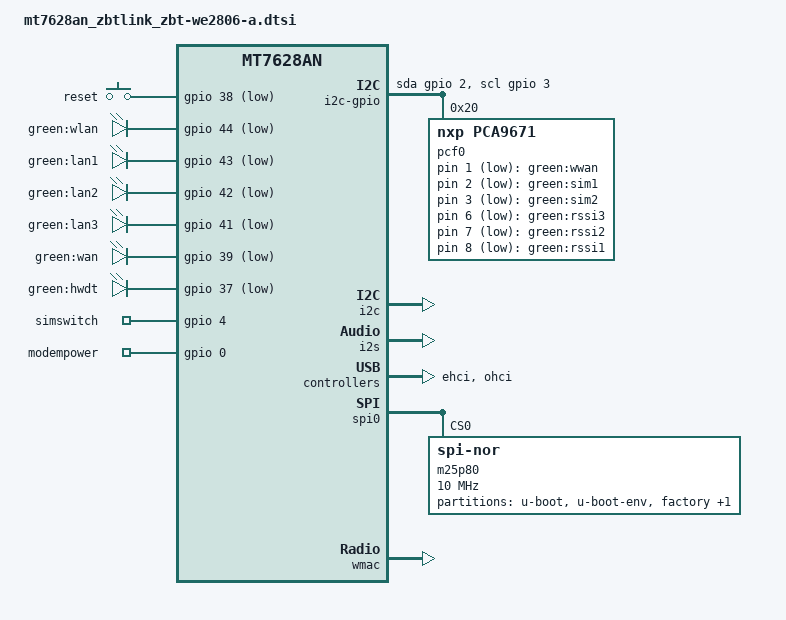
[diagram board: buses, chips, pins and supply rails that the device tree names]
#include <dt-bindings/input/input.h>
#include <dt-bindings/gpio/gpio.h>

#include "mt7628an.dtsi"

/ {
	compatible = "zbtlink,zbt-we2806-a", "mediatek,mt7628an-soc";

	aliases {
		led-boot = &led_wlan;
		led-failsafe = &led_wlan;
		led-running = &led_wlan;
		led-upgrade = &led_wlan;
	};

	chosen {
		bootargs = "console=ttyS0,115200";
	};

	i2c-gpio {
		#address-cells = <1>;
		#size-cells = <0>;

		compatible = "i2c-gpio";
		gpios = <&gpio 2 4 &gpio 3 4>;
		i2c-gpio,delay-us = <10>;

		pcf0: iexp@20 {
			#gpio-cells = <2>;
			compatible = "nxp,pca9671";
			reg = <0x20>;
			gpio-controller;
		};
	};

	keys {
		compatible = "gpio-keys-polled";
		poll-interval = <20>;

		reset {
			label = "reset";
			gpios = <&gpio 38 GPIO_ACTIVE_LOW>;
			linux,code = <KEY_RESTART>;
		};
	};

	leds {
		compatible = "gpio-leds";

		led_wlan: wlan {
			label = "green:wlan";
			gpios = <&gpio 44 GPIO_ACTIVE_LOW>;
			linux,default-trigger = "phy0pt";
		};

		lan1 {
			label = "green:lan1";
			gpios = <&gpio 43 GPIO_ACTIVE_LOW>;
		};
		
		lan2 {
			label = "green:lan2";
			gpios = <&gpio 42 GPIO_ACTIVE_LOW>;
		};

		lan3 {
			label = "green:lan3";
			gpios = <&gpio 41 GPIO_ACTIVE_LOW>;
		};

		wan {
                        label = "green:wan";
                        gpios = <&gpio 39 GPIO_ACTIVE_LOW>;
                };

		hwdt {
                        label = "green:hwdt";
                        gpios = <&gpio 37 GPIO_ACTIVE_LOW>;
                        linux,default-trigger = "timer";
                };

		wwan {
                        label = "green:wwan";
                        gpios = <&pcf0 1 GPIO_ACTIVE_LOW>;
                };

		sim1 {
			label = "green:sim1";
			gpios = <&pcf0 2 GPIO_ACTIVE_LOW>;
		};
		
		sim2 {
			label = "green:sim2";
			gpios = <&pcf0 3 GPIO_ACTIVE_LOW>;
		};
		
		rssi3 {
			label = "green:rssi3";
			gpios = <&pcf0 6 GPIO_ACTIVE_LOW>;
		};
		
		rssi2 {
			label = "green:rssi2";
			gpios = <&pcf0 7 GPIO_ACTIVE_LOW>;
		};
		
		rssi1 {
			label = "green:rssi1";
			gpios = <&pcf0 8 GPIO_ACTIVE_LOW>;
		};

	};
	gpio_export {
		compatible = "gpio-export";
		#size-cells = <0>;
		simswitch {
			gpio-export,name = "simswitch";
			gpio-export,output = <0>;
			gpios = <&gpio 4 GPIO_ACTIVE_HIGH>;
		};
		modempower {
			gpio-export,name = "modempower";
			gpio-export,output = <1>;
			gpios = <&gpio 0 GPIO_ACTIVE_HIGH>;
		};
	};
};

&i2c {
	status = "okay";
};

&i2s {
	status = "okay";
};

&ehci {
        status = "okay";
};

&ohci {
        status = "okay";
};

&spi0 {
        status = "okay";

        m25p80@0 {
                compatible = "jedec,spi-nor";
                reg = <0>;
                spi-max-frequency = <10000000>;

                partitions {
                        compatible = "fixed-partitions";
                        #address-cells = <1>;
                        #size-cells = <1>;

                        partition@0 {
                                label = "u-boot";
                                reg = <0x0 0x30000>;
                                read-only;
                        };

                        partition@30000 {
                                label = "u-boot-env";
                                reg = <0x30000 0x10000>;
                                read-only;
                        };

                        factory: partition@40000 {
                                label = "factory";
                                reg = <0x40000 0x10000>;
                                read-only;
                        };

                        firmware: partition@50000 {
                                compatible = "denx,uimage";
                                label = "firmware";
                                reg = <0x50000 0x7b0000>;
                        };
                };
        };
};


&pinctrl {
        state_default: pinctrl0 {
                gpio {
                        groups = "refclk", "wled_an", "i2s", "i2c", "p0led_an", "p1led_an", "p2led_an", "p3led_an", "p4led_an", "wdt", "gpio";
                        function = "gpio";
                };
        };
};

&wmac {
	status = "okay";
	mtd-eeprom = <&factory 0x0>;
};

&ethernet {
	mtd-mac-address = <&factory 0x28>;
};


